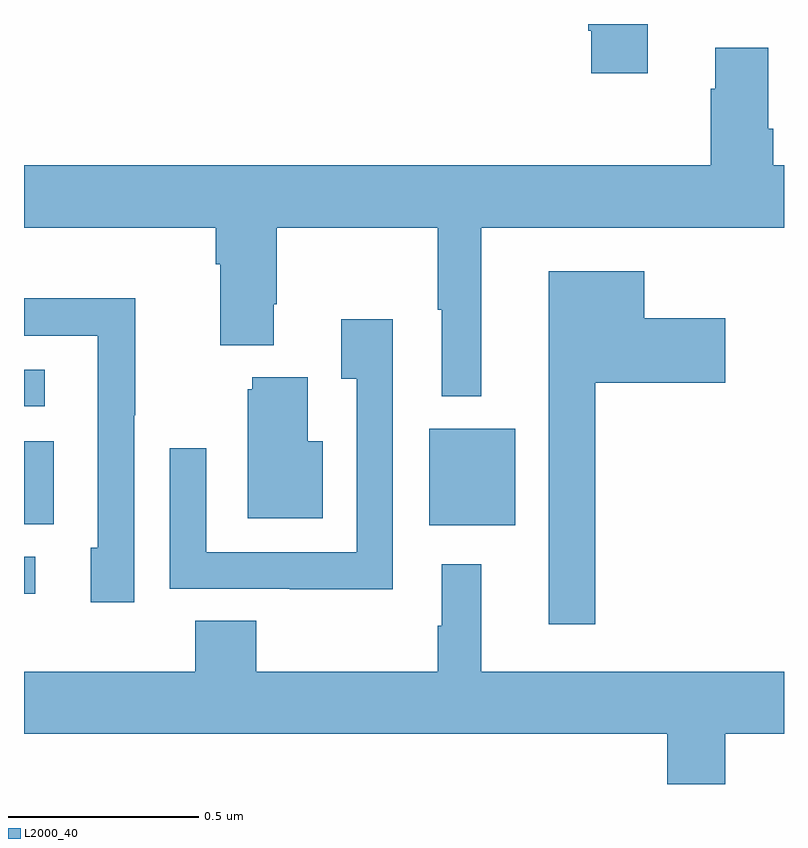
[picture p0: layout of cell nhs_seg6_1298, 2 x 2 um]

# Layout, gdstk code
import gdstk
lib = gdstk.Library(unit=1e-6, precision=1e-09)
def R(c, l, rs):  # rectangles x0, y0, x1, y1
    for r in rs: c.add(gdstk.rectangle(r[:2], r[2:], *l))
def P(c, l, *ps):  # polygons
    for p in ps: c.add(gdstk.Polygon(p, *l))
L2000_40 = (2000, 40)

nhs_seg6_1298 = lib.new_cell('nhs_seg6_1298')
R(nhs_seg6_1298, L2000_40, [(127,985.001,127.03,985.098), (128.066,985.181,128.293,985.435), (127,985.183,127.078,985.402), (127,985.494,127.054,985.59)])
P(nhs_seg6_1298, L2000_40, [(128.641,986.5),(128.485,986.5),(128.485,986.482),(128.493,986.482),(128.493,986.37),(128.641,986.37)],
  [(128.203,985.964),(129,985.964),(129,986.128),(128.972,986.128),(128.972,986.224),(128.959,986.224),(128.959,986.437),(128.819,986.437),(128.819,986.33),(128.807,986.33),(128.807,986.128),(127,986.128),(127,985.964),(127.505,985.964),(127.505,985.868),(127.517,985.868),(127.517,985.655),(127.657,985.655),(127.657,985.762),(127.665,985.762),(127.665,985.964),(128.089,985.964),(128.089,985.748),(128.099,985.748),(128.099,985.52),(128.203,985.52)],
  [(128.503,985.556),(128.845,985.556),(128.845,985.726),(128.632,985.726),(128.632,985.849),(128.381,985.849),(128.381,984.921),(128.503,984.921)],
  [(127.29,985.471),(127.293,985.471),(127.293,985.778),(127,985.778),(127,985.68),(127.194,985.68),(127.194,985.122),(127.175,985.122),(127.175,984.978),(127.29,984.978)],
  [(127.971,985.723),(127.835,985.723),(127.835,985.567),(127.875,985.567),(127.875,985.11),(127.479,985.11),(127.479,985.384),(127.383,985.384),(127.383,985.014),(127.699,985.014),(127.699,985.013),(127.971,985.013)],
  [(127.786,985.402),(127.747,985.402),(127.747,985.57),(127.601,985.57),(127.601,985.539),(127.589,985.539),(127.589,985.199),(127.786,985.199)],
  [(128.845,984.632),(129,984.632),(129,984.796),(128.203,984.796),(128.203,985.078),(128.099,985.078),(128.099,984.917),(128.089,984.917),(128.089,984.796),(127.611,984.796),(127.611,984.929),(127.451,984.929),(127.451,984.796),(127,984.796),(127,984.632),(128.693,984.632),(128.693,984.5),(128.845,984.5)])

lib.write_gds('nhs_seg6_1298.gds')
